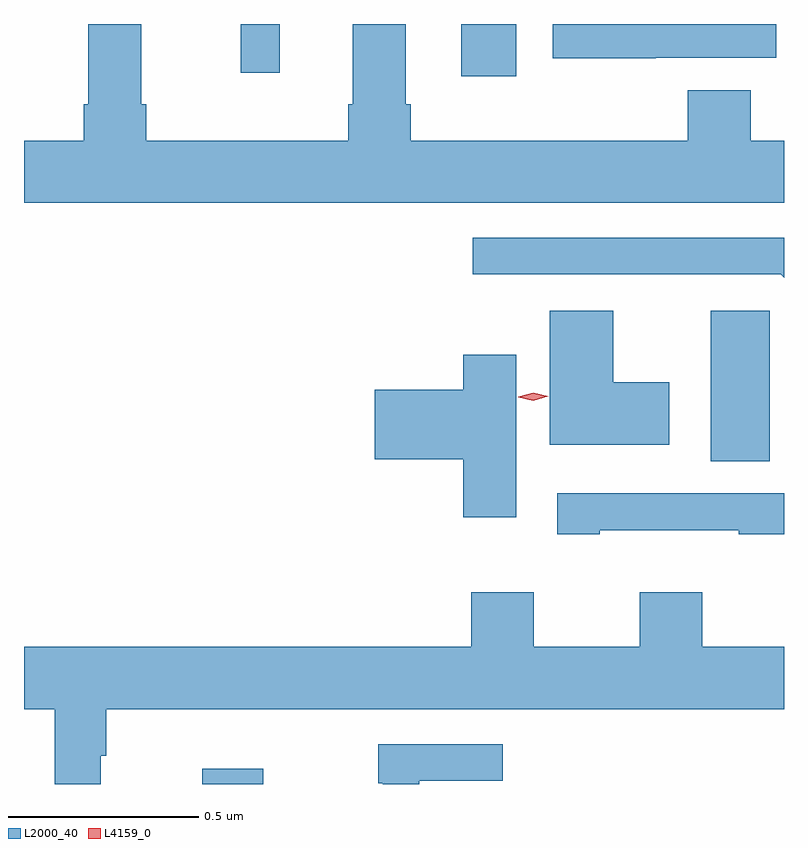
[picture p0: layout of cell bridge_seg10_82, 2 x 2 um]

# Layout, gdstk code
import gdstk
lib = gdstk.Library(unit=1e-6, precision=1e-09)
def R(c, l, rs):  # rectangles x0, y0, x1, y1
    for r in rs: c.add(gdstk.rectangle(r[:2], r[2:], *l))
def P(c, l, *ps):  # polygons
    for p in ps: c.add(gdstk.Polygon(p, *l))
L2000_40 = (2000, 40)
L4159_0 = (4159, 0)

bridge_seg10_82 = lib.new_cell('bridge_seg10_82')
R(bridge_seg10_82, L2000_40, [(671.261,1276.143,671.422,1276.183), (672.599,1276.993,672.754,1277.388), (671.942,1278.006,672.088,1278.143), (671.362,1278.015,671.465,1278.143)])
P(bridge_seg10_82, L2000_40, [(672.792,1277.836),(672.704,1277.836),(672.704,1277.969),(672.539,1277.969),(672.539,1277.836),(671.81,1277.836),(671.81,1277.932),(671.797,1277.932),(671.797,1278.143),(671.657,1278.143),(671.657,1277.932),(671.645,1277.932),(671.645,1277.836),(671.114,1277.836),(671.114,1277.932),(671.101,1277.932),(671.101,1278.143),(670.961,1278.143),(670.961,1277.932),(670.949,1277.932),(670.949,1277.836),(670.792,1277.836),(670.792,1277.672),(672.792,1277.672)],
  [(672.455,1278.054),(672.771,1278.054),(672.771,1278.143),(672.183,1278.143),(672.183,1278.053),(672.455,1278.053)],
  [(672.792,1277.58),(671.973,1277.58),(671.973,1277.484),(672.783,1277.484),(672.792,1277.475)],
  [(672.49,1277.2),(672.343,1277.2),(672.343,1277.389),(672.176,1277.389),(672.176,1277.036),(672.49,1277.036)],
  [(672.088,1277.272),(671.948,1277.272),(671.948,1277.18),(671.715,1277.18),(671.715,1276.997),(671.948,1276.997),(671.948,1276.845),(672.088,1276.845)],
  [(672.307,1276.811),(672.673,1276.811),(672.673,1276.8),(672.792,1276.8),(672.792,1276.908),(672.195,1276.908),(672.195,1276.8),(672.307,1276.8)],
  [(670.994,1276.217),(671.009,1276.217),(671.009,1276.34),(672.792,1276.34),(672.792,1276.504),(672.577,1276.504),(672.577,1276.648),(672.413,1276.648),(672.413,1276.504),(672.133,1276.504),(672.133,1276.648),(671.969,1276.648),(671.969,1276.504),(670.792,1276.504),(670.792,1276.34),(670.873,1276.34),(670.873,1276.143),(670.994,1276.143)],
  [(671.832,1276.152),(672.052,1276.152),(672.052,1276.248),(671.724,1276.248),(671.724,1276.145),(671.736,1276.145),(671.736,1276.143),(671.832,1276.143)])
P(bridge_seg10_82, L4159_0, [(672.132,1277.152),(672.093,1277.161),(672.093,1277.162),(672.093,1277.162),(672.132,1277.172),(672.171,1277.164),(672.172,1277.163),(672.171,1277.163)])

lib.write_gds('bridge_seg10_82.gds')
